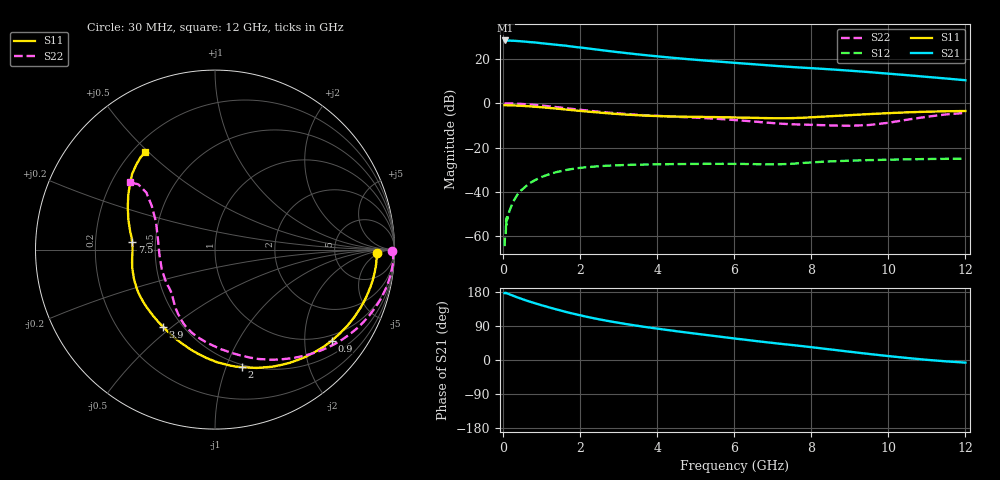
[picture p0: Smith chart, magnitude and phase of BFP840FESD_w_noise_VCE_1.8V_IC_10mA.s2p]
! Infineon Technologies  Discrete & RF Semiconductors
! BFP840FESD
! VCE =  1.8 V,  IC =  10 mA
! Common Emitter S-Parameters:  May 2012
# GHz  S  MA  R  50
!  f  S11  S21  S12  S22
! GHz  MAG  ANG  MAG  ANG  MAG  ANG  MAG  ANG
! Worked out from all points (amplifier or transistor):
!   103 points, 30 MHz to 12 GHz, reference 50 ohm
!   highest |S21| = 28.3 dB at 50 MHz (marker M1)
!   |S21| within 3 dB of that: start of sweep to 1.899 GHz
!   unconditionally stable (mu >= 1): 6.476 GHz to end of sweep
!   at 400 MHz: K = 0.09, MSG = 34.1 dB, |S12| = -40.3 dB
!   at 3.7 GHz: K = 0.53, MSG = 24.6 dB, |S12| = -27.6 dB
!   at 12 GHz: K = 1.16, MAG = 15.3 dB, |S12| = -25.0 dB
!   lowest NFmin = 0.66 dB at 450 MHz
!   S11 on the Smith chart (normalised r, x): 30 MHz: 19, -4; 900 MHz: 0.84, -2.68; 2 GHz: 0.48, -1.14; 3.9 GHz: 0.40, -0.46; 7.5 GHz: 0.37, +0.04; 12 GHz: 0.25, +0.49
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0.03  0.9024 -1.3  26.01 176.4  0.0006 79.6  0.9861 -0.4
0.04  0.9027 -1.7  26 176.1  0.001 79.9  0.9893 -0.7
0.05  0.9023 -2.2  26.07 177.4  0.001 79.7  0.991 -1.1
0.07  0.9026 -3.1  26 176.8  0.0024 94.2  0.9936 -1.9
0.25  0.8952 -11.0  25.69 169.7  0.006 84.4  0.9879 -8.5
0.5  0.8734 -21.7  24.78 160.3  0.0116 75.7  0.9623 -16.9
0.9  0.8251 -37.9  23.05 147.3  0.02 66.5  0.9026 -29.4
1.2  0.7836 -49.4  21.63 138.4  0.0253 59.2  0.8505 -38.1
1.6  0.7257 -64.1  19.95 127.5  0.0309 51.4  0.7788 -49.0
2  0.6725 -77.0  18.05 117.8  0.035 44.4  0.7119 -59.2
2.1  0.6606 -80.3  17.62 115.4  0.0358 42.8  0.6971 -61.6
2.5  0.6162 -91.6  15.94 107.1  0.0383 37.4  0.6427 -70.3
2.9  0.5788 -101.9  14.47 99.7  0.0398 33.4  0.5985 -77.9
3.4  0.5435 -113.6  12.91 91.5  0.0412 29.2  0.5565 -86.4
3.9  0.5182 -124.2  11.64 84.2  0.0419 26.6  0.5255 -93.6
4.1  0.5119 -128.2  11.21 81.4  0.0422 25.6  0.515 -96.3
5.1  0.4924 -146.5  9.399 68.1  0.043 22.3  0.4688 -108.4
6.1  0.4764 -162.7  8.053 55.6  0.0429 20.5  0.4134 -119.9
7.5  0.4628 175.0  6.568 39.5  0.0433 25.6  0.3366 -137.8
8.5  0.5113 160.8  5.816 27.8  0.049 25.7  0.3168 -159.3
10.5  0.6253 137.6  4.288 5.2  0.0545 22.1  0.428 145.4
12  0.669 125.6  3.307 -6.9  0.056 21.6  0.6056 141.7
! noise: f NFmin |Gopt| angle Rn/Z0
0.45  0.66  0.31  5  0.14
0.9  0.68  0.3  11  0.15
1.5  0.7  0.28  16  0.15
1.9  0.7  0.25  27  0.15
2.4  0.71  0.23  35  0.15
3.5  0.73  0.23  57  0.14
5.5  0.79  0.15  102  0.11
8  0.91  0.13  168  0.12
10  1.04  0.24  -135  0.12
12  1.26  0.4  -115  0.14
